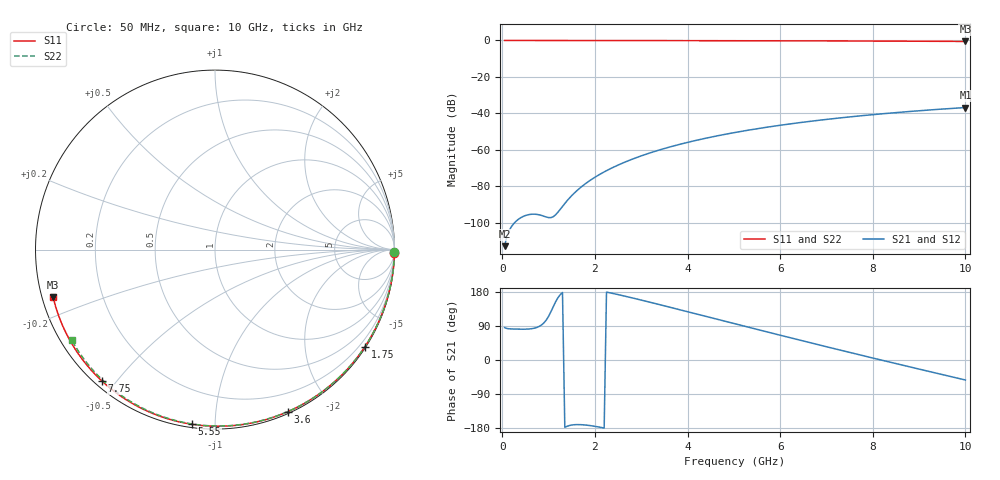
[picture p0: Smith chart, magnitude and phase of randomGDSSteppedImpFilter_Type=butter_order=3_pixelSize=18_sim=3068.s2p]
! freq	dB(S11)	phase(S11)	dB(S12)	phase(S12)
!  dB(S21)	phase(S21)	dB(S22)	phase(S22)
!S-par simulation data
#  GHz  S  DB  R 50
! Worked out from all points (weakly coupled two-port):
!   200 points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, 50 MHz to 10 GHz, reference 50 ohm
!   highest |S21| = -36.84 dB at 10 GHz (marker M1); lowest = -113.0 dB at 50 MHz (marker M2)
!   lowest |S11| = -0.5 dB at 10 GHz (marker M3), VSWR 32.29, Z = 1.58 - j7.19 ohm
!   |S11| at or under -10 dB: nowhere
!   |S22| runs from -0.5 to 0.0 dB; largest |S21 - S12| = 0
!   S11 on the Smith chart (normalised r, x): 50 MHz: open; 1.75 GHz: 0.03, -3.38; 3.6 GHz: 0.02, -1.55; 5.55 GHz: 0.02, -0.88; 7.75 GHz: 0.02, -0.46; 10 GHz: 0.03, -0.14
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0.05  -0.00 -1.0  -112.98 85.5  -112.98 85.5  -0.00 -0.9
0.45  -0.01 -8.6  -96.67 81.2  -96.67 81.2  -0.01 -7.7
0.85  -0.02 -16.2  -96.12 92.7  -96.12 92.7  -0.02 -14.4
1.25  -0.03 -23.7  -92.76 172.2  -92.76 172.2  -0.03 -21.1
1.7  -0.04 -32.1  -80.55 -170.7  -80.55 -170.7  -0.04 -28.6
1.75  -0.04 -33.0  -79.54 -171.1  -79.54 -171.1  -0.04 -29.4
1.9  -0.05 -35.7  -76.78 -173.1  -76.78 -173.1  -0.04 -31.9
2.05  -0.05 -38.5  -74.36 -176.1  -74.36 -176.1  -0.04 -34.3
2.25  -0.05 -42.1  -71.52 179.2  -71.52 179.2  -0.05 -37.6
2.45  -0.06 -45.7  -69.02 174.0  -69.02 174.0  -0.05 -40.8
2.9  -0.07 -53.7  -64.30 161.1  -64.30 161.1  -0.06 -48.0
3.4  -0.08 -62.4  -60.09 146.0  -60.09 146.0  -0.07 -55.9
3.6  -0.09 -65.8  -58.62 139.9  -58.62 139.9  -0.08 -59.0
4.3  -0.11 -77.6  -54.21 118.1  -54.21 118.1  -0.10 -69.6
5.05  -0.14 -89.7  -50.42 94.7  -50.42 94.7  -0.12 -80.7
5.55  -0.16 -97.6  -48.29 79.2  -48.29 79.2  -0.14 -87.9
6.1  -0.19 -106.0  -46.22 62.3  -46.22 62.3  -0.17 -95.7
6.7  -0.22 -115.1  -44.25 44.1  -44.25 44.1  -0.20 -104.0
7.75  -0.30 -130.6  -41.35 12.6  -41.35 12.6  -0.27 -118.1
8.35  -0.35 -139.3  -39.95 -5.1  -39.95 -5.1  -0.32 -126.1
9.2  -0.44 -151.7  -38.22 -29.8  -38.22 -29.8  -0.41 -137.3
10  -0.54 -163.6  -36.84 -52.8  -36.84 -52.8  -0.50 -147.9
